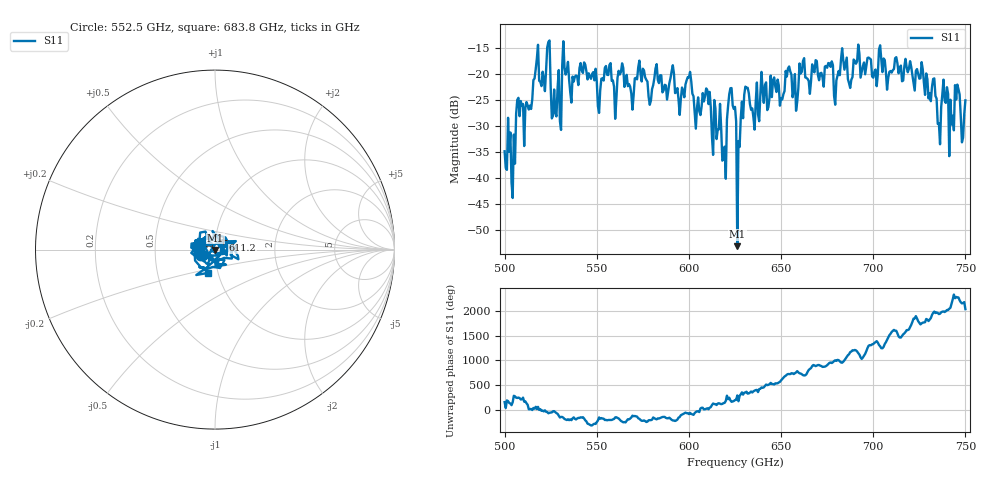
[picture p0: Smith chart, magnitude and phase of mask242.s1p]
!Created with skrf (http://scikit-rf.org).
# GHz S MA R 50.0
!freq magS11 angS11
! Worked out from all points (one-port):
!   401 points, 500 GHz to 750 GHz, reference 50 ohm
!   lowest |S11| = -53.1 dB at 626.2 GHz (marker M1), VSWR 1.00, Z = 50.1 - j0.198 ohm
!   |S11| at or under -10 dB: start of sweep to end of sweep
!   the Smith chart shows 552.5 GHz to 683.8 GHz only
!   S11 on the Smith chart (normalised r, x): 552.5 GHz: 0.85, -0.06; 611.2 GHz: 1.08, +0.11; 683.8 GHz: 0.90, -0.24
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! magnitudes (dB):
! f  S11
! 500 GHz  -34.9
! 504.4 GHz  -43.9
! 507.5 GHz  -24.6
! 511.9 GHz  -25.4
! 516.9 GHz  -19.1
! 523.8 GHz  -13.9
! 526.9 GHz  -23.0
! 531.2 GHz  -18.5
! 552.5 GHz  -21.0
! 562.5 GHz  -20.2
! 593.8 GHz  -22.8
! 611.2 GHz  -23.5
! 618.8 GHz  -36.4
! 623.1 GHz  -22.7
! 625 GHz  -26.4
! 626.2 GHz  -53.1
! 631.2 GHz  -22.8
! 634.4 GHz  -26.7
! 656.2 GHz  -24.5
! 683.8 GHz  -17.4
! 687.5 GHz  -22.7
! 718.8 GHz  -19.7
! 733.1 GHz  -20.9
! 735.6 GHz  -29.5
! 738.8 GHz  -25.2
! 742.5 GHz  -29.8
! 745.6 GHz  -22.1
! 750 GHz  -25.1
